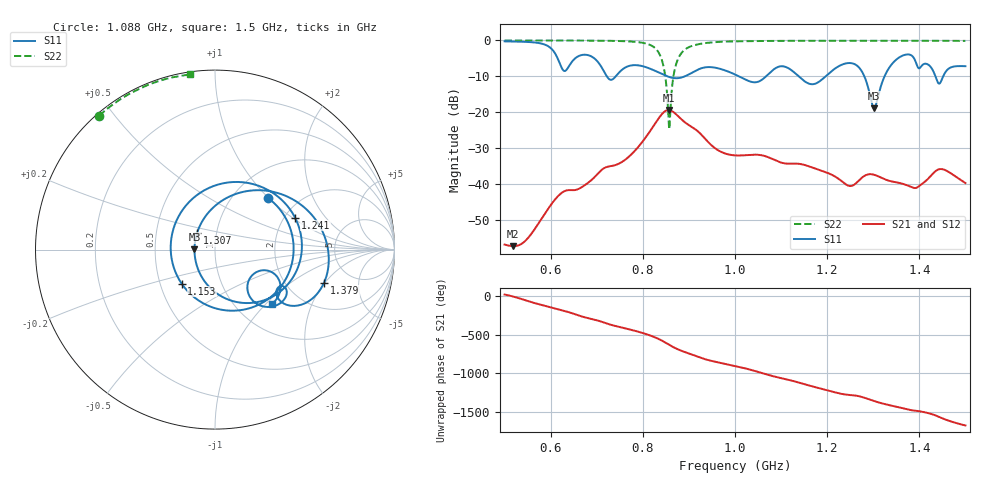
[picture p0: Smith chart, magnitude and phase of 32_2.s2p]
! TOUCHSTONE file generated by CST MICROWAVE STUDIO
! Date and time: Mon Nov 30 09:10:55 2020
! Project name: Scenario_1_Planar_Body_Tissue_Out_of_Line_v2.cst
! Parameters = {dy1=190.3; L_HA=400; Ltissue=700; MT=2.54; Rad_Dielectric=30; Rad_Lower=7.3; Rad_Upper=30; Wtissue=700; a_HA=580; a_WG=246; b_HA=500; b_WG=121; c_HA=0; c_WG=187; d_feed=85; dx1=346; h_feed=15; h_lower=18; h_upper=40; hfat=3; hgap=25; hmuscle=50; hskin=1.5}
! Header version: 2018
! Port assignment regex: !\s*Touchstone port\s*([0-9]+)\s*=\s*(CST MWS port|CST DS port)\s*([0-9]+|Zmin|Zmax)\s*\(\"(.*)\"\)(\s*mode\s*([0-9]+))?.*
! Touchstone port assignment:
! Touchstone port 1 = CST MWS port 1 ("")
! Touchstone port 2 = CST MWS port 2 ("")
# GHz S DB R 50
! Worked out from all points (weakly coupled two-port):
!   1003 points, 500 MHz to 1.5 GHz, reference 50 ohm
!   highest |S21| = -19.33 dB at 856 MHz (marker M1); lowest = -57.2 dB at 519 MHz (marker M2)
!   lowest |S11| = -18.8 dB at 1.302 GHz (marker M3), VSWR 1.26, Z = 39.7 + j0.108 ohm
!   |S11| at or under -10 dB: 1.009 GHz to 1.067 GHz (58.33 MHz wide, 5.62 % of centre); 1.138 GHz to 1.196 GHz (58.04 MHz wide, 4.97 % of centre); 1.281 GHz to 1.324 GHz (43.65 MHz wide, 3.35 % of centre) (the widest 3 of 6)
!   |S22| runs from -24.7 to 0.0 dB; largest |S21 - S12| = 3.5e-06
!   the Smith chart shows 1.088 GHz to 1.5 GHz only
!   S11 on the Smith chart (normalised r, x): 1.088 GHz: 1.42, +0.99; 1.153 GHz: 0.64, -0.26; 1.241 GHz: 2.27, +1.05; 1.307 GHz: 0.81, +0.15; 1.379 GHz: 3.17, -1.96; 1.5 GHz: 1.44, -1.09
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0.5  -0.26 -121.8  -56.71 19.3  -56.71 19.3  -0.01 151.2
0.519  -0.30 -129.8  -57.15 -7.0  -57.15 -7.0  -0.01 149.9
0.667  -4.06 158.4  -40.79 96.8  -40.79 96.8  -0.04 138.4
0.718  -9.15 27.4  -35.34 13.0  -35.34 13.0  -0.09 132.6
0.742  -9.86 -97.0  -34.55 -29.0  -34.55 -29.0  -0.14 128.9
0.771  -7.05 176.4  -32.15 -70.9  -32.15 -70.9  -0.28 122.8
0.834  -8.88 42.9  -21.71 166.5  -21.71 166.5  -3.31 83.0
0.856  -10.10 -11.9  -19.33 94.4  -19.33 94.4  -22.58 -6.3
0.912  -8.58 176.0  -24.51 -48.1  -24.51 -48.1  -1.31 161.1
0.943  -7.40 78.8  -28.39 -108.7  -28.39 -108.7  -0.63 150.7
1  -9.46 -55.8  -31.93 177.1  -31.93 177.1  -0.26 140.2
1.05  -11.48 170.4  -31.76 100.8  -31.76 100.8  -0.17 134.4
1.088  -7.70 44.8  -33.34 37.0  -33.34 37.0  -0.13 130.8
1.153  -11.52 -134.4  -34.67 -62.1  -34.67 -62.1  -0.10 125.3
1.167  -12.17 -173.3  -35.26 -85.2  -35.26 -85.2  -0.10 124.2
1.241  -6.37 21.8  -40.03 167.2  -40.03 167.2  -0.09 118.5
1.275  -8.54 -51.5  -38.17 137.3  -38.17 137.3  -0.09 116.0
1.302  -18.84 179.3  -37.32 83.8  -37.32 83.8  -0.08 114.0
1.307  -17.38 137.9  -37.54 74.4  -37.54 74.4  -0.08 113.6
1.334  -7.71 53.5  -38.97 32.3  -38.97 32.3  -0.08 111.5
1.379  -3.95 -16.9  -40.54 -29.9  -40.54 -29.9  -0.09 108.0
1.5  -7.16 -43.9  -39.62 128.9  -39.62 128.9  -0.13 98.0
